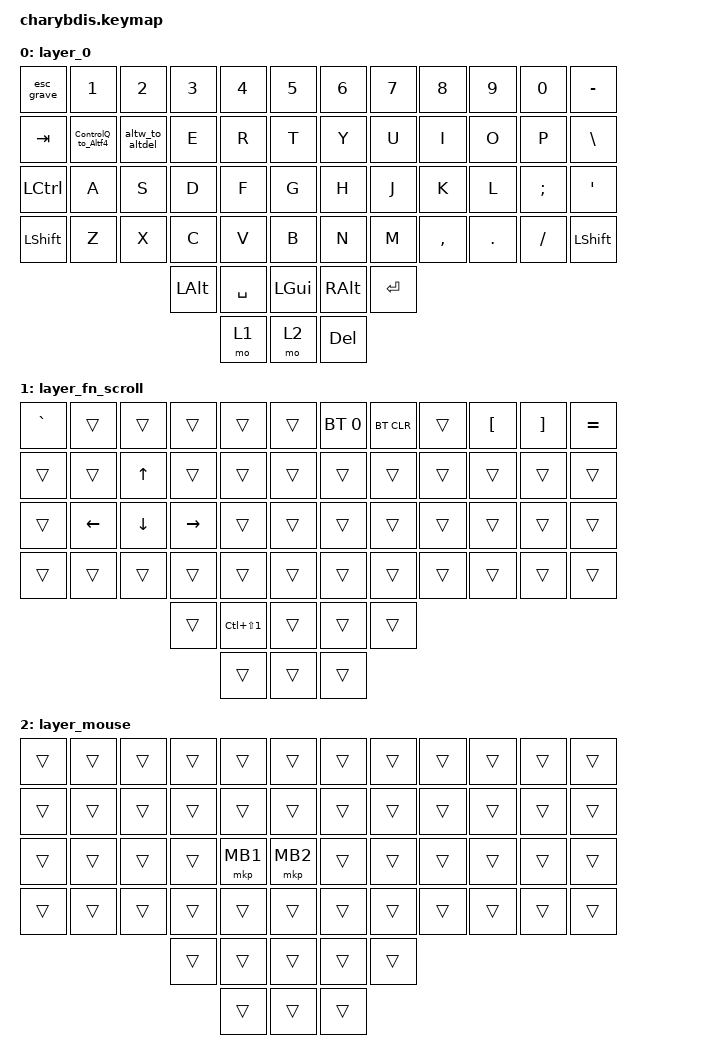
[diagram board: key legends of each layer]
#include <dt-bindings/zmk/mouse.h>
#include <behaviors.dtsi>
#include <dt-bindings/zmk/bt.h>
#include <dt-bindings/zmk/keys.h>
#include <dt-bindings/zmk/pointing.h>

&lt {
    tapping-term-ms = <200>;
    flavor = "balanced";
    quick-tap-ms = <150>;
};

/ {
    behaviors {
        esc_grave: esc_grave {
            compatible = "zmk,behavior-mod-morph";
            label = "ESC_GRAVE";
            bindings = <&kp ESCAPE>, <&kp TILDE>;

            #binding-cells = <0>;
            mods = <(MOD_LSFT)>;
        };

        alt4_to_altf4: alt4_to_altf4 {
            compatible = "zmk,behavior-mod-morph";
            label = "ALT4_TO_ALTF4";
            bindings = <&kp NUMBER_4>, <&kp LA(F4)>;

            #binding-cells = <0>;
            mods = <(MOD_LALT)>;
        };

        altw_to_altdel: altw_to_altdel {
            compatible = "zmk,behavior-mod-morph";
            label = "ALTW_TO_ALTDEL";
            bindings = <&kp W>, <&kp LA(DELETE)>;

            #binding-cells = <0>;
            mods = <(MOD_LALT)>;
        };

        ControlQ_to_Altf4: ControlQ_to_Altf4 {
            compatible = "zmk,behavior-mod-morph";
            label = "CONTROLQ_TO_ALTF4";
            bindings = <&kp Q>, <&kp LA(F4)>;

            #binding-cells = <0>;
            mods = <(MOD_LCTL)>;
        };
    };

    combos {
        compatible = "zmk,combos";

        Combo_SHFT_L {
            bindings = <&kp LEFT_SHIFT>;
            key-positions = <27 28>;
        };

        Combo_SHFT_R {
            bindings = <&kp RIGHT_SHIFT>;
            key-positions = <31 32>;
        };
    };

    keymap {
        compatible = "zmk,keymap";

        layer_0 {
            bindings = <
&esc_grave        &kp N1              &kp N2           &kp N3        &kp NUMBER_4  &kp N5          &kp N6         &kp N7     &kp N8     &kp N9      &kp N0    &kp MINUS
&kp TAB           &ControlQ_to_Altf4  &altw_to_altdel  &kp E         &kp R         &kp T           &kp Y          &kp U      &kp I      &kp O       &kp P     &kp BSLH
&kp LEFT_CONTROL  &kp A               &kp S            &kp D         &kp F         &kp G           &kp H          &kp J      &kp K      &kp L       &kp SEMI  &kp SQT
&kp LEFT_SHIFT    &kp Z               &kp X            &kp C         &kp V         &kp B           &kp N          &kp M      &kp COMMA  &kp PERIOD  &kp FSLH  &kp LEFT_SHIFT
                                                       &kp LEFT_ALT  &kp SPACE     &kp LEFT_GUI    &kp RIGHT_ALT  &kp ENTER
                                                                     &mo 1         &mo 2           &kp DELETE
            >;
        };

        layer_fn_scroll {
            bindings = <
&kp GRAVE  &trans    &trans        &trans     &trans                &trans    &bt BT_SEL 0  &bt BT_CLR  &trans  &kp LEFT_BRACKET  &kp RIGHT_BRACKET  &kp EQUAL
&trans     &trans    &kp UP_ARROW  &trans     &trans                &trans    &trans        &trans      &trans  &trans            &trans             &trans
&trans     &kp LEFT  &kp DOWN      &kp RIGHT  &trans                &trans    &trans        &trans      &trans  &trans            &trans             &trans
&trans     &trans    &trans        &trans     &trans                &trans    &trans        &trans      &trans  &trans            &trans             &trans
                                   &trans     &kp LC(LS(NUMBER_1))  &trans    &trans        &trans
                                              &trans                &trans    &trans
            >;
        };

        layer_mouse {
            bindings = <
&trans  &trans  &trans  &trans  &trans    &trans      &trans  &trans  &trans  &trans  &trans  &trans
&trans  &trans  &trans  &trans  &trans    &trans      &trans  &trans  &trans  &trans  &trans  &trans
&trans  &trans  &trans  &trans  &mkp MB1  &mkp MB2    &trans  &trans  &trans  &trans  &trans  &trans
&trans  &trans  &trans  &trans  &trans    &trans      &trans  &trans  &trans  &trans  &trans  &trans
                        &trans  &trans    &trans      &trans  &trans
                                &trans    &trans      &trans
            >;
        };
    };
};
